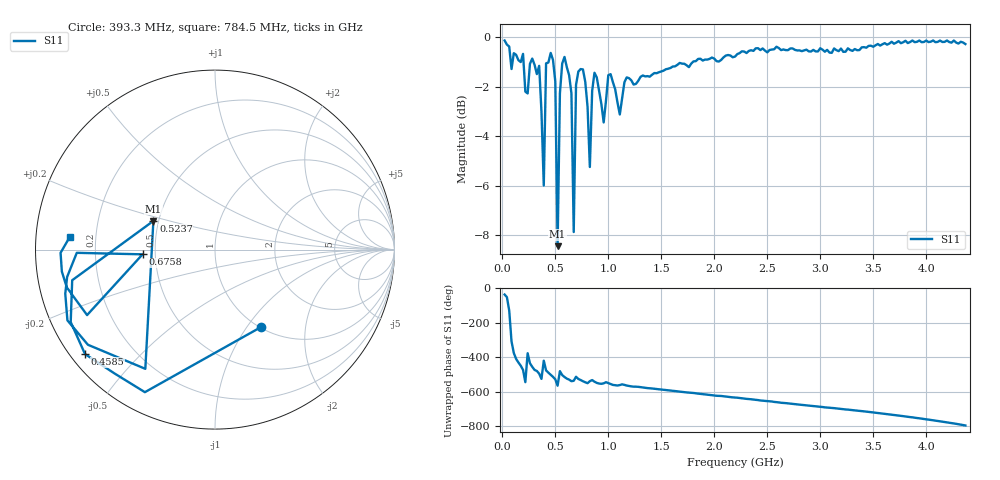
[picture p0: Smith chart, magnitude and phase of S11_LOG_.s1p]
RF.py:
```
import skrf as rf
from pylab import *
import matplotlib.pyplot as plt
import numpy as np
import csv

def smooth(y, box_pts):
    box = np.ones(box_pts)/box_pts
    y_smooth = np.convolve(y, box, mode='same')
    return y_smooth


def normalize_csv(filename):
    xs = []
    ys = []
    end_index = 0
    
    with open(filename, 'r') as f:
        reader = csv.reader(f)
        for row in reader:
            s = row[0]
            if s.find('END') >= 0:
               end_index += 1 
               #1 S11, 2 Phase, 3 SWR, 4 Real/Imaginary 
               if end_index == 1: 
                   break
               else:
                   xs = []
                   ys = []               
            elif(s.find('!') < 0 and s.find('BEGIN') < 0 and s.find('END') < 0):
                xs.append(row[0])
                if len(row) > 1:
                    #1 Real, 2 Imaginary
                    ys.append(row[1])
                else:
                    ys.append(row[1])
    return np.array(xs, dtype=np.float64), np.array(ys, dtype=np.float64)

def get_return_loss_from_linear(data):
    return -20*np.log10(abs(data))

def get_return_loss_from_log(data):
    return abs(data)

def get_vswr_from_log(data):
    data = get_return_loss_from_log(data)
    data1 = 10**(-data/20)
    return (1 + data1) / (1 - data1) 

points = np.arange(0,101)
##x,y = normalize_csv('S11-LIN.csv')
##plt.plot(x,y,label='S11-LIN VNA')
##
##x,y = normalize_csv('S11-LOG.csv')
##plt.plot(x,y,label='S11-LOG VNA')
##
##x,y = normalize_csv('VSWR.csv')
##plt.plot(x,y,label='VNA')
####
##x,y = normalize_csv('S11-LOG.csv')
##plt.plot(x,get_vswr_from_log(y),label='VSWR')

##points = np.arange(0,101)
##probe = rf.Network('RL.s1p')
##x,y = probe.plot_s_db_time()
##x,y=x[100:201],y[100:201]
##plt.plot(x*3*10**8/2,abs(y),label='Analytic')
plt.rc('legend', fontsize=20)    # legend fontsize



x,y = normalize_csv('VSWR__SMO.csv')
plt.plot(0.9*x,y,label='Medicao+Smooth', linewidth=2, color='red')
##plt.xticks(np.arange(min(x), max(x), 0.1))
##
##x,y = normalize_csv('S11-VSWR.csv')
##plt.plot(x,y,label='S11 VSWR')

probe = rf.Network('S11_LOG_.s1p')
x,y = probe.plot_s_db_time(window=('kaiser', 6))
x,y=x[100:201],y[100:201]
plt.plot(0.9*x*3*10**8/2,smooth(abs(y),3),label='Simulacao',  linewidth=2)

##x,y = normalize_csv('VSWR__.csv')
##plt.plot(0.9*x,y,label='Medicao', linewidth=2)

##probe = rf.Network('RL.s1p')
##x,y = probe.plot_s_db_time(window=('boxcar'))
##x,y=x[100:201],y[100:201]
##plt.plot(x*3*10**8/2,abs(y),label='Boxcar')

##probe = rf.Network('RL.s1p')
##x,y = probe.plot_s_db_time(window=('triang'))
##x,y=x[100:201],y[100:201]
##plt.plot(x*3*10**8/2,abs(y),label='Triang')

##probe = rf.Network('RL.s1p')
##x,y = probe.plot_s_db_time(window=('blackman'))
##x,y=x[100:201],y[100:201]
##plt.plot(x*3*10**8/2,abs(y),label='Blackman')
##
##probe = rf.Network('RL.s1p')
##x,y = probe.plot_s_db_time(window=('hamming'))
##x,y=x[100:201],y[100:201]
##plt.plot(x*3*10**8/2,abs(y),label='Hamming')
##
##probe = rf.Network('RL.s1p')
##x,y = probe.plot_s_db_time(window=('hann'))
##x,y=x[100:201],y[100:201]
##plt.plot(x*3*10**8/2,abs(y),label='Hann')
##
##probe = rf.Network('RL.s1p')
##x,y = probe.plot_s_db_time(window=('bartlett'))
##x,y=x[100:201],y[100:201]
##plt.plot(x*3*10**8/2,abs(y),label='Bartlett')
##
##probe = rf.Network('RL.s1p')
##x,y = probe.plot_s_db_time(window=('flattop'))
##x,y=x[100:201],y[100:201]
##plt.plot(x*3*10**8/2,abs(y),label='Flattop')
##
##probe = rf.Network('RL.s1p')
##x,y = probe.plot_s_db_time(window=('parzen'))
##x,y=x[100:201],y[100:201]
##plt.plot(x*3*10**8/2,abs(y),label='Parzen')
##
##probe = rf.Network('RL.s1p')
##x,y = probe.plot_s_db_time(window=('bohman'))
##x,y=x[100:201],y[100:201]
##plt.plot(x*3*10**8/2,abs(y),label='Bohman')
####
##probe = rf.Network('RL.s1p')
##x,y = probe.plot_s_db_time(window=('blackmanharris'))
##x,y=x[100:201],y[100:201]
##plt.plot(x*3*10**8/2,abs(y),label='Blackmanharris')
##
##probe = rf.Network('RL.s1p')
##x,y = probe.plot_s_db_time(window=('nuttall'))
##x,y=x[100:201],y[100:201]
##plt.plot(x*3*10**8/2,abs(y),label='Nuttall')
##
##probe = rf.Network('RL.s1p')
##x,y = probe.plot_s_db_time(window=('barthann'))
##x,y=x[100:201],y[100:201]
##plt.plot(x*3*10**8/2,abs(y),label='Barthann')
##
##probe = rf.Network('RL.s1p')
##x,y = probe.plot_s_db_time(window=('gaussian', 0.07))
##x,y=x[100:201],y[100:201]
##plt.plot(x*3*10**8/2,abs(y),label='Gaussian')
##
##probe = rf.Network('RL.s1p')
##x,y = probe.plot_s_db_time(window=('slepian', 0.03))
##x,y=x[100:201],y[100:201]
###plt.plot(x*3*10**8/2,abs(y),label='Slepian')
####
##probe = rf.Network('RL.s1p')
##x,y = probe.plot_s_db_time(window=('chebwin', 100))
##x,y=x[100:201],y[100:201]
###plt.plot(x*3*10**8/2,abs(y),label='Chebwin')

##x,y = normalize_csv('DTF-VSWR.csv')
##x,y=x[0:101],y[0:101]
##plt.plot(x,y,label='VNA')

#plt.gca().invert_yaxis()

plt.xlabel('Meter (m)', fontsize=20)
plt.ylabel('VSWR', fontsize=20)
plt.title('H1D50-20')
plt.grid()
plt.legend()
plt.show()
```
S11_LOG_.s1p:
!Keysight Technologies N9923A: A.08.19
!Date: Thursday, 16 January 2020 11:30:00
!TimeZone: (GMT-03:00) Brasilia!Model: N9923A
!Serial: MY51491501
!GPS Latitude:
!GPS Longitude:
!GPS TimeStamp: 0001-01-01 00:00:00Z
!GPS Seconds Since Last Read: 0
!CHECKSUM:1078980270
!Correction: S11(ON U)
!S1P File: Measurement: S11:
# Hz S DB R 50
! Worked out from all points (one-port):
!   201 points, 23.74 MHz to 4.371 GHz, reference 50 ohm
!   lowest |S11| = -8.4 dB at 523.7 MHz (marker M1), VSWR 2.22, Z = 23.4 + j8.73 ohm
!   |S11| at or under -10 dB: nowhere
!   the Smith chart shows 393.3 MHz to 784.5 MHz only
!   S11 on the Smith chart (normalised r, x): 393.3 MHz: 1.01, -1.17; 458.5 MHz: 0.04, -0.35; 523.7 MHz: 0.47, +0.17; 675.8 MHz: 0.42, -0.03; 784.5 MHz: 0.10, +0.04
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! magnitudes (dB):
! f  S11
! 23.74 MHz  -0.1
! 349.8 MHz  -1.2
! 393.3 MHz  -6.0
! 458.5 MHz  -0.6
! 501.9 MHz  -1.8
! 523.7 MHz  -8.4
! 588.9 MHz  -0.8
! 654.1 MHz  -2.3
! 675.8 MHz  -7.9
! 697.6 MHz  -1.9
! 784.5 MHz  -1.8
! 1.48 GHz  -1.4
! 2.936 GHz  -0.5
! 4.371 GHz  -0.3
